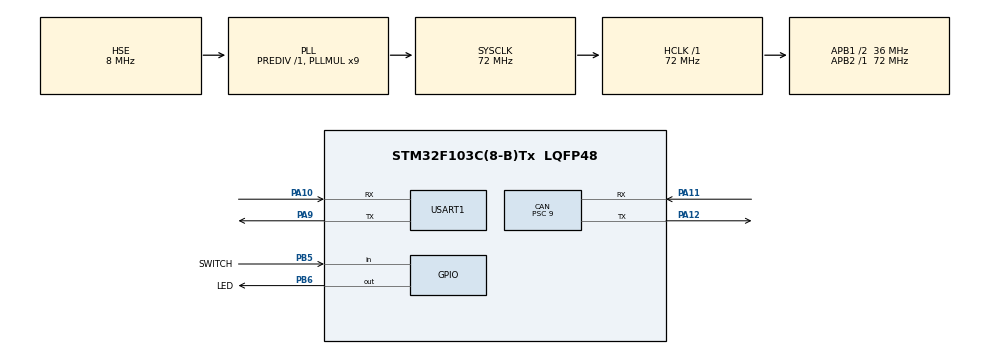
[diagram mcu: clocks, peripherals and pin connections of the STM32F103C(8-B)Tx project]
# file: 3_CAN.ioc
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CAN.BS1=CAN_BS1_6TQ
CAN.CalculateBaudRate=500000
CAN.CalculateTimeBit=2000
CAN.CalculateTimeQuantum=250.0
CAN.NART=ENABLE
CAN.Prescaler=9
Mcu.Family=STM32F1
Mcu.Name=STM32F103C(8-B)Tx
Mcu.Package=LQFP48
NVIC.PriorityGroup=NVIC_PRIORITYGROUP_4
PA10.Mode=Asynchronous
PA10.Signal=USART1_RX
PA11.Mode=CAN_Activate
PA11.Signal=CAN_RX
PA12.Mode=CAN_Activate
PA12.Signal=CAN_TX
PA13.Mode=Serial_Wire
PA13.Signal=SYS_JTMS-SWDIO
PA14.Mode=Serial_Wire
PA14.Signal=SYS_JTCK-SWCLK
PA9.Mode=Asynchronous
PA9.Signal=USART1_TX
PB5.GPIO_Label=SWITCH
PB5.GPIO_PuPd=GPIO_PULLUP
PB5.Signal=GPIO_Input
PB6.GPIO_Label=LED
PB6.Signal=GPIO_Output
PD0-OSC_IN.Mode=HSE-External-Oscillator
PD0-OSC_IN.Signal=RCC_OSC_IN
PD1-OSC_OUT.Mode=HSE-External-Oscillator
PD1-OSC_OUT.Signal=RCC_OSC_OUT
ProjectManager.HeapSize=0x200
ProjectManager.StackSize=0x400
ProjectManager.TargetToolchain=CMake
RCC.AHBFreq_Value=72000000
RCC.APB1CLKDivider=RCC_HCLK_DIV2
RCC.APB1Freq_Value=36000000
RCC.APB1TimFreq_Value=72000000
RCC.APB2Freq_Value=72000000
RCC.APB2TimFreq_Value=72000000
RCC.HCLKFreq_Value=72000000
RCC.PLLMUL=RCC_PLL_MUL9
RCC.PLLSourceVirtual=RCC_PLLSOURCE_HSE
RCC.SYSCLKFreq_VALUE=72000000
RCC.SYSCLKSource=RCC_SYSCLKSOURCE_PLLCLK
RCC.USBFreq_Value=72000000
USART1.VirtualMode=VM_ASYNC
board=custom

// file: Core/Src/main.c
/* USER CODE BEGIN Header */
/**
  ******************************************************************************
  * @file           : main.c
  * @brief          : Main program body
  ******************************************************************************
  * @attention
  *
  * Copyright (c) 2026 STMicroelectronics.
  * All rights reserved.
  *
  * This software is licensed under terms that can be found in the LICENSE file
  * in the root directory of this software component.
  * If no LICENSE file comes with this software, it is provided AS-IS.
  *
  ******************************************************************************
  */
/* USER CODE END Header */
#include "main.h"
#include "can.h"
#include "usart.h"
#include "gpio.h"

void SystemClock_Config(void);

/* USER CODE BEGIN 0 */
#if defined(CAN_NODE_MASTER)
static void UART_SendByte(uint8_t data)
{
  (void)HAL_UART_Transmit(&huart1, &data, 1U, HAL_MAX_DELAY);
} // UART_SendByte

static void CAN_MasterTask(void)
{
  static GPIO_PinState last_switch_state = GPIO_PIN_SET;
  GPIO_PinState switch_state = HAL_GPIO_ReadPin(SWITCH_GPIO_Port, SWITCH_Pin);
  uint16_t rx_id;
  uint8_t rx_data;

  if ((last_switch_state == GPIO_PIN_SET) && (switch_state == GPIO_PIN_RESET))
  {
    HAL_Delay(20);
    switch_state = HAL_GPIO_ReadPin(SWITCH_GPIO_Port, SWITCH_Pin);

    if (switch_state == GPIO_PIN_RESET)
    {
      if (CAN_SendByte(CAN_ID_COMMAND, CAN_DATA_COMMAND) == HAL_OK)
      {
      }
      else
      {
        const char message[] = "TX ERROR\r\n";
        (void)HAL_UART_Transmit(&huart1, (const uint8_t *)message, sizeof(message) - 1U, HAL_MAX_DELAY);
      }
    }
  }

  last_switch_state = switch_state;

  while (CAN_ReadByte(&rx_id, &rx_data))
  {
    if (rx_id == CAN_ID_RESPONSE)
    {
      UART_SendByte(rx_data);
    }
  }
} // master task
#endif

#if defined(CAN_NODE_SLAVE)
static void CAN_SlaveTask(void)
{
  uint16_t rx_id;
  uint8_t rx_data;

  while (CAN_ReadByte(&rx_id, &rx_data))
  {
    if ((rx_id == CAN_ID_COMMAND) && (rx_data == CAN_DATA_COMMAND))
    {
      HAL_GPIO_TogglePin(LED_GPIO_Port, LED_Pin);
      (void)CAN_SendByte(CAN_ID_RESPONSE, CAN_DATA_RESPONSE);
    }
  }
} // slave task
#endif

/* USER CODE END 0 */

int main(void)
{

  /* MCU Configuration--------------------------------------------------------*/

  /* Reset of all peripherals, Initializes the Flash interface and the Systick. */
  HAL_Init();

  /* Configure the system clock */
  SystemClock_Config();

  /* Initialize all configured peripherals */
  MX_GPIO_Init();
  MX_CAN_Init();
  MX_USART1_UART_Init();
  /* USER CODE BEGIN 2 */
  if (CAN_Start() != HAL_OK)
  {
    Error_Handler();
  }

  /* USER CODE END 2 */

  /* Infinite loop */
  while (1)
  {

    /* USER CODE BEGIN 3 */
#if defined(CAN_NODE_MASTER)
    CAN_MasterTask();
#elif defined(CAN_NODE_SLAVE)
    CAN_SlaveTask();
#endif
  }
  /* USER CODE END 3 */
}

void SystemClock_Config(void)
{
  RCC_OscInitTypeDef RCC_OscInitStruct = {0};
  RCC_ClkInitTypeDef RCC_ClkInitStruct = {0};

  /** Initializes the RCC Oscillators according to the specified parameters
  * in the RCC_OscInitTypeDef structure.
  */
  RCC_OscInitStruct.OscillatorType = RCC_OSCILLATORTYPE_HSE;
  RCC_OscInitStruct.HSEState = RCC_HSE_ON;
  RCC_OscInitStruct.HSEPredivValue = RCC_HSE_PREDIV_DIV1;
  RCC_OscInitStruct.HSIState = RCC_HSI_ON;
  RCC_OscInitStruct.PLL.PLLState = RCC_PLL_ON;
  RCC_OscInitStruct.PLL.PLLSource = RCC_PLLSOURCE_HSE;
  RCC_OscInitStruct.PLL.PLLMUL = RCC_PLL_MUL9;
  if (HAL_RCC_OscConfig(&RCC_OscInitStruct) != HAL_OK)
  {
    Error_Handler();
  }

  /** Initializes the CPU, AHB and APB buses clocks
  */
  RCC_ClkInitStruct.ClockType = RCC_CLOCKTYPE_HCLK|RCC_CLOCKTYPE_SYSCLK
                              |RCC_CLOCKTYPE_PCLK1|RCC_CLOCKTYPE_PCLK2;
  RCC_ClkInitStruct.SYSCLKSource = RCC_SYSCLKSOURCE_PLLCLK;
  RCC_ClkInitStruct.AHBCLKDivider = RCC_SYSCLK_DIV1;
  RCC_ClkInitStruct.APB1CLKDivider = RCC_HCLK_DIV2;
  RCC_ClkInitStruct.APB2CLKDivider = RCC_HCLK_DIV1;

  if (HAL_RCC_ClockConfig(&RCC_ClkInitStruct, FLASH_LATENCY_2) != HAL_OK)
  {
    Error_Handler();
  }
}

void Error_Handler(void)
{
  __disable_irq();
  while (1)
  {
  }
}
